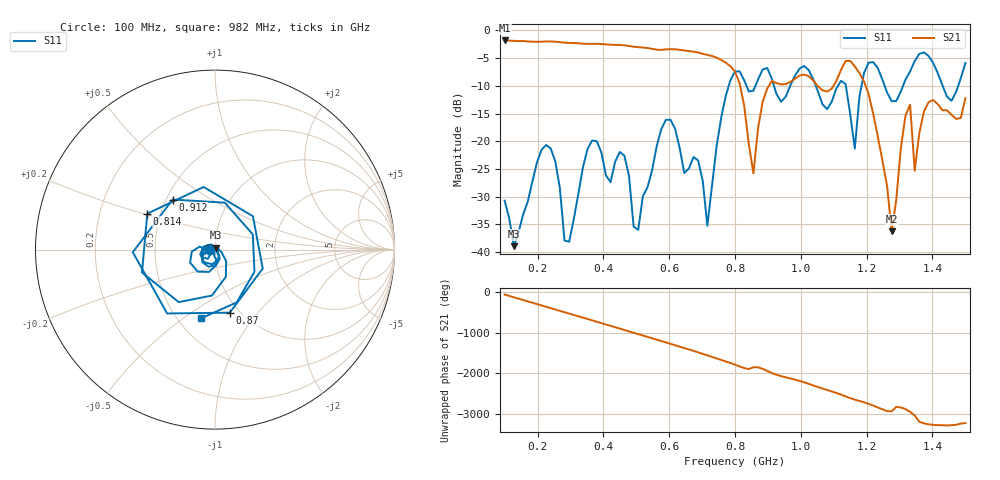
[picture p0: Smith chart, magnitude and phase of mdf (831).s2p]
! NanoVNA-App
! Date: 2025-09-25 15:44:53
! Start: 100MHz Stop: 1,5GHz Points: 101
! S-Parameter data: F S11 S21 S12 S22
# Hz S RI R 50
!  Frequency  S11_Real  S11_Imag  S21_Real  S21_Imag  S12_Real  S12_Imag  S22_Real  S22_Imag
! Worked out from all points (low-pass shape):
!   101 points, 100 MHz to 1.5 GHz, reference 50 ohm
!   highest |S21| = -1.80 dB at 100 MHz (marker M1); lowest = -36.3 dB at 1.276 GHz (marker M2)
!   |S21| within 3 dB of the highest: start of sweep to 739.2 MHz
!   lowest |S11| = -38.9 dB at 128 MHz (marker M3), VSWR 1.02, Z = 50.3 + j1.08 ohm
!   |S11| at or under -10 dB: start of sweep to 781 MHz; 1.045 GHz to 1.113 GHz (67.38 MHz wide, 6.24 % of centre); 1.255 GHz to 1.311 GHz (55.77 MHz wide, 4.35 % of centre) (the widest 3 of 7)
!   S12 and S22 are empty: the file has one direction only
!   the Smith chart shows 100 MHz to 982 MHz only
!   S11 on the Smith chart (normalised r, x): 100 MHz: 0.94, -0.01; 814 MHz: 0.42, +0.21; 870 MHz: 0.90, -0.73; 912 MHz: 0.54, +0.35; 982 MHz: 0.65, -0.59
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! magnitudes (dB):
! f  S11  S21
! 100 MHz  -30.7  -1.8
! 128 MHz  -38.9  -1.9
! 212 MHz  -21.6  -2.0
! 282 MHz  -37.9  -2.2
! 338 MHz  -24.7  -2.4
! 464 MHz  -22.6  -2.7
! 506 MHz  -36.0  -3.0
! 576 MHz  -17.8  -3.5
! 716 MHz  -35.3  -4.4
! 800 MHz  -7.4  -7.4
! 814 MHz  -7.4  -9.5
! 856 MHz  -10.9  -25.8
! 870 MHz  -8.9  -17.7
! 912 MHz  -8.8  -9.1
! 982 MHz  -8.2  -8.7
! 1.038 GHz  -8.8  -9.0
! 1.164 GHz  -21.3  -6.5
! 1.192 GHz  -7.7  -9.2
! 1.276 GHz  -12.8  -36.3
! 1.332 GHz  -7.4  -13.4
! 1.346 GHz  -5.5  -25.3
! 1.5 GHz  -5.9  -12.2
